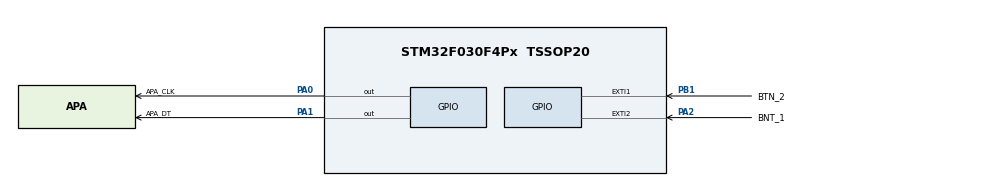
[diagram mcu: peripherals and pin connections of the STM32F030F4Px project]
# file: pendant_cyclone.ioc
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Mcu.Family=STM32F0
Mcu.Name=STM32F030F4Px
Mcu.Package=TSSOP20
NVIC.EXTI0_1_IRQn=true\:0\:0\:false\:false\:true\:true\:true\:true
NVIC.EXTI2_3_IRQn=true\:0\:0\:false\:false\:true\:true\:true\:true
PA0.GPIO_Label=APA_CLK
PA0.Signal=GPIO_Output
PA1.GPIO_Label=APA_DT
PA1.Signal=GPIO_Output
PA13.Mode=Serial_Wire
PA13.Signal=SYS_SWDIO
PA14.Mode=Serial_Wire
PA14.Signal=SYS_SWCLK
PA2.GPIO_Label=BNT_1
PA2.GPIO_ModeDefaultEXTI=GPIO_MODE_IT_FALLING
PA2.GPIO_PuPd=GPIO_PULLUP
PA2.Signal=GPXTI2
PB1.GPIO_Label=BTN_2
PB1.GPIO_ModeDefaultEXTI=GPIO_MODE_IT_FALLING
PB1.Signal=GPXTI1
ProjectManager.HeapSize=0x200
ProjectManager.StackSize=0x400
ProjectManager.TargetToolchain=STM32CubeIDE
board=custom

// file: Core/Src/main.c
/* USER CODE BEGIN Header */
/**
  ******************************************************************************
  * @file           : main.c
  * @brief          : Main program body
  ******************************************************************************
  * @attention
  *
  * <h2><center>&copy; Copyright (c) 2022 STMicroelectronics.
  * All rights reserved.</center></h2>
  *
  * This software component is licensed by ST under BSD 3-Clause license,
  * the "License"; You may not use this file except in compliance with the
  * License. You may obtain a copy of the License at:
  *                        opensource.org/licenses/BSD-3-Clause
  *
  ******************************************************************************
  */
/* USER CODE END Header */
#include "main.h"

/* USER CODE BEGIN PD */
#define NUM_OF_LEDS 8
#define SOFT_CLICK_TIME 200

#define RED 0
#define GREEN 1
#define BLUE 2

/* USER CODE END PD */

/* USER CODE BEGIN PV */
struct pixel_color{
	uint8_t red,green,blue,brightness;
};

uint8_t brightMode = 5;
uint8_t animationMode = 0;
uint8_t breakAnimation = 0;
uint32_t softClickTimer = 0;

struct pixel_color rgb[] = {
		{255,0,0,5},
		{0,255,0,5},
		{0,0,255,5}
};

struct pixel_color pixels[NUM_OF_LEDS];

/* USER CODE END PV */

void SystemClock_Config(void);
static void MX_GPIO_Init(void);

/* USER CODE BEGIN 0 */

void init(){
	HAL_GPIO_WritePin(APA_CLK_GPIO_Port, APA_CLK_Pin, RESET);
	HAL_GPIO_WritePin(APA_DT_GPIO_Port, APA_DT_Pin, RESET);
}

void transfer(uint8_t b){
	for (int8_t i = 7; i>=0; i--){
		HAL_GPIO_WritePin(APA_DT_GPIO_Port, APA_DT_Pin , (b >> i & 1));
		HAL_GPIO_WritePin(APA_CLK_GPIO_Port, APA_CLK_Pin, SET);
		HAL_GPIO_WritePin(APA_CLK_GPIO_Port, APA_CLK_Pin, RESET);
	}
}

// Инициализация шины данных для светодиодов APA и отправка начального блока данных
//
void startFrame()
{
  init();
  transfer(0);
  transfer(0);
  transfer(0);
  transfer(0);
}

// Отправка конечного блока данных в шину APA
//
void endFrame(uint16_t count){
  // оптимизация
  // вместо отправки 4x 0xFF согласно спецификации
  // отправляем 0x0 в цикле

  for (uint16_t i = 0; i < (count + 14)/16; i++) transfer(0);
  init(); 	// сброс сигнальных линий
}

// Отправка данных о цвете пикселей в шину APA
//
void updateLeds(){
  startFrame();
  for(uint16_t i = 0; i < NUM_OF_LEDS; i++) {
	  transfer(0b11100000 | pixels[i].brightness); // яркость - 5 разрядное число
	  transfer(pixels[i].blue);
	  transfer(pixels[i].green);
	  transfer(pixels[i].red);
}
  endFrame(NUM_OF_LEDS);
}

void clearLeds(){
	for(uint16_t i = 0; i < NUM_OF_LEDS; i++) {
		pixels[i].red = 0;
		pixels[i].green = 0;
		pixels[i].blue = 0;
		pixels[i].brightness = 0;
	}
	updateLeds();
}

void setPixelColor(uint8_t led, uint8_t r, uint8_t g, uint8_t b, uint8_t brightness){
	pixels[led].red	= r;
	pixels[led].green = g;
	pixels[led].blue = b;
	pixels[led].brightness = brightness;
}

// анимация при запуске
//
void startupAnimation(){
	clearLeds();
	HAL_Delay(500);

	// закрашивание всех светодиодов последовательно в красный, зелёный и синий
	for(uint8_t c = 0; c < 3; c++) {
		for(uint8_t i = 0; i < NUM_OF_LEDS; i++) {
			pixels[i] = rgb[c];
		}
		updateLeds();
		HAL_Delay(500);
	}
}

// эффект радуга
//
void rainbowWheel(uint8_t WheelPos, uint8_t led, uint8_t brightness) {
	WheelPos = 255 - WheelPos;
		if(WheelPos < 85) {
			setPixelColor(led, 255 - WheelPos * 3, 0, WheelPos * 3, brightness);
			return;
		}
		if(WheelPos < 170) {
		  WheelPos -= 85;
		  setPixelColor(led, 0, WheelPos * 3, 255 - WheelPos * 3, brightness);
		  return;
		}
		WheelPos -= 170;
		setPixelColor(led, WheelPos * 3, 255 - WheelPos * 3, 0, brightness);
		return;
		}

void mode_0(){
	uint16_t i, j;

	for(j=0; j<256; j++) {
		for(i=0; i< NUM_OF_LEDS; i++) {
			rainbowWheel(((i * 256 / (NUM_OF_LEDS)) + j) & 255, i, brightMode);
		}
		updateLeds();
		if(breakAnimation){
			breakAnimation=0;
			clearLeds();
			break;
		}
		HAL_Delay(1);
	}
}

//обработчик прерываний от кнопок
//
void HAL_GPIO_EXTI_Callback(uint16_t GPIO_Pin){
	//animationMode+=1;
	if(GPIO_Pin==GPIO_PIN_2){ 									// проверяем что это прерывание на пин_2 (наша кнопка-1)
		if((HAL_GetTick()-softClickTimer) > SOFT_CLICK_TIME){	// устранение дребезга контактов
			animationMode+=1;
			softClickTimer=HAL_GetTick();						// обновление таймера дребезга
		}
		breakAnimation=1;
	}

	if(GPIO_Pin==GPIO_PIN_1){ 									// проверяем что это прерывание на пин_2 (наша кнопка-1)
		if((HAL_GetTick()-softClickTimer) > SOFT_CLICK_TIME){	// устранение дребезга контактов
			brightMode+=12;
			if (brightMode>31) brightMode=5;
			softClickTimer=HAL_GetTick();						// обновление таймера дребезга
		}
	}
}

// эффект комета
//
void CometRed(uint8_t WheelPos, uint8_t led, uint8_t brightness) {
	WheelPos = 255 - WheelPos;
		if(WheelPos < 85) {
			setPixelColor(led, WheelPos * 3, 0, 0, brightness);
			return;
		}
		if(WheelPos < 170) {
		  WheelPos -= 85;
		  setPixelColor(led, 255 - WheelPos * 3, 0, 0, brightness);
		  return;
		}
		//WheelPos -= 170;
		//setPixelColor(led, 0, 255 - WheelPos * 3, 0, brightness);
		return;
}

void CometGreen(uint8_t WheelPos, uint8_t led, uint8_t brightness) {
	WheelPos = 255 - WheelPos;
		if(WheelPos < 85) {
			setPixelColor(led, 0,WheelPos * 3, 0,  brightness);
			return;
		}
		if(WheelPos < 170) {
		  WheelPos -= 85;
		  setPixelColor(led, 0,	255 - WheelPos * 3, 0,  brightness);
		  return;
		}
		//WheelPos -= 170;
		//setPixelColor(led, 0, 255 - WheelPos * 3, 0, brightness);
		return;
}

void CometBlue(uint8_t WheelPos, uint8_t led, uint8_t brightness) {
	WheelPos = 255 - WheelPos;
		if(WheelPos < 85) {
			setPixelColor(led, 0, 0, WheelPos * 3, brightness);
			return;
		}
		if(WheelPos < 170) {
		  WheelPos -= 85;
		  setPixelColor(led, 0, 0, 255 - WheelPos * 3, brightness);
		  return;
		}
		//WheelPos -= 170;
		//setPixelColor(led, 0, 255 - WheelPos * 3, 0, brightness);
		return;
}

/*
void mode_1(){
	uint16_t i, j;

	for(j=0; j<256; j++) {					// этот цикл создает эффект движения по кругу
		if(breakAnimation){
			breakAnimation=0;
			clearLeds();
			break;
		}
		for(i=0; i< NUM_OF_LEDS; i++) {		// этот цикл меняет позицию "стартового"
		  uint8_t WheelPos = ((i * 256 / (NUM_OF_LEDS))+ j) & 255;
		  Comet(WheelPos, i,brightMode);
	  }
	  updateLeds();
	  HAL_Delay(1);
	}

}
*/

void mode_1(){
	uint16_t i, j;

	for(j=0; j<256; j++) {
		if(breakAnimation){
			breakAnimation=0;
			clearLeds();
			return;
		}
		for(i=0; i< NUM_OF_LEDS; i++) {		// этот цикл меняет позицию "стартового"
		  uint8_t WheelPos = ((i * 64 / (NUM_OF_LEDS))+ j) & 255;
		  CometRed(WheelPos, i,brightMode);
	  }
	  updateLeds();
	  HAL_Delay(1);
	}

}

void mode_2(){
	uint16_t i, j;

	for(j=0; j<256; j++) {					// этот цикл создает эффект движения по кругу
		if(breakAnimation){
			breakAnimation=0;
			clearLeds();
			return;
		}
		for(i=0; i< NUM_OF_LEDS; i++) {		// этот цикл меняет позицию "стартового"
		  uint8_t WheelPos = ((i * 64 / (NUM_OF_LEDS))+ j) & 255;
		  CometGreen(WheelPos, i,brightMode);
	  }
	  updateLeds();
	  HAL_Delay(1);
	}

}

void mode_3(){
	uint16_t i, j;

	for(j=0; j<256; j++) {					// этот цикл создает эффект движения по кругу
		if(breakAnimation){
			breakAnimation=0;
			clearLeds();
			return;
		}
		for(i=0; i< NUM_OF_LEDS; i++) {		// этот цикл меняет позицию "стартового"
		  uint8_t WheelPos = ((i * 64 / (NUM_OF_LEDS))+ j) & 255;
		  CometBlue(WheelPos, i,brightMode);
	  }
	  updateLeds();
	  HAL_Delay(1);
	}

}

void mode_4(){
	uint16_t i, j;

	for(j=0; j<256; j++) {					// этот цикл создает эффект движения по кругу
		if(breakAnimation){
			breakAnimation=0;
			clearLeds();
			return;
		}
		for(i=0; i< NUM_OF_LEDS; i++) {		// этот цикл меняет позицию "стартового"
		  uint8_t WheelPos = ((i * 1024 / (NUM_OF_LEDS))+ j) & 255; // интересный эффект 2
		  CometRed(WheelPos, i,brightMode);
	  }
	  updateLeds();
	  HAL_Delay(1);
	}

}

void mode_5(){
	uint16_t i, j;

	for(j=0; j<256; j++) {					// этот цикл создает эффект движения по кругу
		if(breakAnimation){
			breakAnimation=0;
			clearLeds();
			return;
		}
		for(i=0; i< NUM_OF_LEDS; i++) {		// этот цикл меняет позицию "стартового"
		  uint8_t WheelPos = ((i * 1024 / (NUM_OF_LEDS))+ j) & 255; // интересный эффект 2
		  CometGreen(WheelPos, i,brightMode);
	  }
	  updateLeds();
	  HAL_Delay(1);
	}

}

void mode_6(){
	uint16_t i, j;

	for(j=0; j<256; j++) {					// этот цикл создает эффект движения по кругу
		if(breakAnimation){
			breakAnimation=0;
			clearLeds();
			return;
		}
		for(i=0; i< NUM_OF_LEDS; i++) {		// этот цикл меняет позицию "стартового"
		  uint8_t WheelPos = ((i * 1024 / (NUM_OF_LEDS))+ j) & 255; // интересный эффект 2
		  CometBlue(WheelPos, i,brightMode);
	  }
	  updateLeds();
	  HAL_Delay(1);
	}

}

void mode_7(){			//красное мерцание циферблата
	uint16_t i, j;

	for(j=0; j<256; j++) {					// этот цикл создает эффект движения по кругу
		if(breakAnimation){
			breakAnimation=0;
			clearLeds();
			return;
		}
		for(i=0; i< NUM_OF_LEDS; i++) {		// этот цикл меняет позицию "стартового"
			setPixelColor(
					i,
					j,
					0,
					0,
					brightMode
			);
	  }
	  updateLeds();
	  HAL_Delay(1);
	}
	for(j=255; j>0; j--) {					// этот цикл создает эффект движения по кругу
			if(breakAnimation){
				breakAnimation=0;
				clearLeds();
				return;
			}
			for(i=0; i< NUM_OF_LEDS; i++) {		// этот цикл меняет позицию "стартового"
				setPixelColor(
						i,
						j,
						0,
						0,
						brightMode
				);
		  }
	  updateLeds();
	  HAL_Delay(1);
	}

}

void mode_8(){			//зеленое мерцание циферблата
	uint16_t i, j;

	for(j=0; j<256; j++) {					// этот цикл создает эффект движения по кругу
		if(breakAnimation){
			breakAnimation=0;
			clearLeds();
			return;
		}
		for(i=0; i< NUM_OF_LEDS; i++) {		// этот цикл меняет позицию "стартового"
			setPixelColor(
					i,
					0,
					j,
					0,
					brightMode
			);
	  }
	  updateLeds();
	  HAL_Delay(1);
	}
	for(j=255; j>0; j--) {					// этот цикл создает эффект движения по кругу
			if(breakAnimation){
				breakAnimation=0;
				clearLeds();
				return;
			}
			for(i=0; i< NUM_OF_LEDS; i++) {		// этот цикл меняет позицию "стартового"
				setPixelColor(
						i,
						0,
						j,
						0,
						brightMode
				);
		  }
	  updateLeds();
	  HAL_Delay(1);
	}

}

void mode_9(){			//синее мерцание циферблата
	uint16_t i, j;

	for(j=0; j<256; j++) {					// этот цикл создает эффект движения по кругу
		if(breakAnimation){
			breakAnimation=0;
			clearLeds();
			return;
		}
		for(i=0; i< NUM_OF_LEDS; i++) {		// этот цикл меняет позицию "стартового"
			setPixelColor(
					i,
					0,
					0,
					j,
					brightMode
			);
	  }
	  updateLeds();
	  HAL_Delay(1);
	}
	for(j=255; j>0; j--) {					// этот цикл создает эффект движения по кругу
			if(breakAnimation){
				breakAnimation=0;
				clearLeds();
				return;
			}
			for(i=0; i< NUM_OF_LEDS; i++) {		// этот цикл меняет позицию "стартового"
				setPixelColor(
						i,
						0,
						0,
						j,
						brightMode
				);
		  }
	  updateLeds();
	  HAL_Delay(1);
	}

}

/*
 * 		"Таймер" - раз в секунду зажигаем на индикаторе один пиксель пока индикатор не заполнится.
 * 		Потом заполняем индикатор новым цветом
 * 		Порядок заполнения индикатора:
 * 		Красный
 * 		Красный - Зеленый
 * 		Зеленый
 * 		Зеленый - Синий
 * 		Синий
 * 		Синий - Красный
 *
 * */

void mode_10(){			// анимация "таймер"
	uint16_t i,j;
	uint32_t delay = 0;
	// стартовые параметры цветов.
	uint16_t R=255;
	uint16_t G=0;
	uint16_t B=0;

	for(j=0;j<6;j++){		// переключаем режим свечения
		switch (j){
			case 0:			// заполнение красным. при зацикливании выглядит как удаление синего из красно-синего.
				break;

			case 1:
				G=255;		// добавляем к красному зеленый
				break;

			case 2:
				R=0;		// убираем от красно-зеленого красный
				break;

			case 3:
				B=255;		// добавляем к зеленому синий
				break;

			case 4:
				G=0;		// убираем от зелено-синего зеленый
				break;

			case 5:			// добавляем к синему красный
				R=255;
				break;

			default:
				break;
		}

		for(i=0; i< NUM_OF_LEDS; i++) {	// Заполнение индикатора
			setPixelColor(
					i,
					R,
					G,
					B,
					brightMode
			);
			updateLeds();

			delay=HAL_GetTick()+1000;		// устанавливаем время ожидания до следующего "тика"
			while(HAL_GetTick()<delay){		// мониторим прерывания выхода
				if(breakAnimation){
					breakAnimation=0;
					clearLeds();
					return;
				}
				HAL_Delay(1);
			}
		}
	}
}

void mode_11(){			// анимация "таймер"

	uint16_t i, j;

		for(j=0; j<256; j++) {					// этот цикл создает эффект движения по кругу
			if(breakAnimation){
				breakAnimation=0;
				clearLeds();
				return;
			}

			for(i=0; i< NUM_OF_LEDS/2; i++) {		// этот цикл меняет позицию "стартового"
				setPixelColor((j+i)%NUM_OF_LEDS,32*i, 0, 0, brightMode);
				HAL_Delay(25);
				//uint8_t WheelPos = ((i * 64 / (NUM_OF_LEDS))+ j) & 255;
				//fireball_Red(WheelPos, i,brightMode);
			}
			updateLeds();
			HAL_Delay(1);
		}
}

void mode_12(){			// анимация "таймер"

	uint16_t i, j;

		for(j=0; j<256; j++) {					// этот цикл создает эффект движения по кругу
			if(breakAnimation){
				breakAnimation=0;
				clearLeds();
				return;
			}

			for(i=0; i< NUM_OF_LEDS/2; i++) {		// этот цикл меняет позицию "стартового"
				setPixelColor((j+i)%NUM_OF_LEDS,0, 32*i, 0, brightMode);
				HAL_Delay(25);
				//uint8_t WheelPos = ((i * 64 / (NUM_OF_LEDS))+ j) & 255;
				//fireball_Red(WheelPos, i,brightMode);
			}
			updateLeds();
			HAL_Delay(1);
		}
}

void mode_13(){			// анимация "таймер"

	uint16_t i, j;

		for(j=0; j<256; j++) {					// этот цикл создает эффект движения по кругу
			if(breakAnimation){
				breakAnimation=0;
				clearLeds();
				return;
			}

			for(i=0; i< NUM_OF_LEDS/2; i++) {		// этот цикл меняет позицию "стартового"
				setPixelColor((j+i)%NUM_OF_LEDS,0, 0, 32*i, brightMode);
				HAL_Delay(25);
				//uint8_t WheelPos = ((i * 64 / (NUM_OF_LEDS))+ j) & 255;
				//fireball_Red(WheelPos, i,brightMode);
			}
			updateLeds();
			HAL_Delay(1);
		}
}

/*
 * 	Анимация создает падающий\растущий градиент
 * 	старая и не очень красивая
 */
void Gradient(	uint8_t WheelPos,		// смещение от начального цвета
				uint8_t led,			// Номер светодиода
				uint8_t Color_R, 		// Красный
				uint8_t Color_G, 		// Зеленый
				uint8_t Color_B, 		// Синий

				uint8_t brightness){	// Яркость
	WheelPos = 255 - WheelPos;
	setPixelColor(
			led, 					// Номер светодиода
			Color_R, 				// Красный
			Color_G, 				// Зеленый
			Color_B, 				// Синий
			brightness 				// Яркость
	);
	return;
}
/* USER CODE END 0 */

int main(void)
{

  /* MCU Configuration--------------------------------------------------------*/

  /* Reset of all peripherals, Initializes the Flash interface and the Systick. */
  HAL_Init();

  /* Configure the system clock */
  SystemClock_Config();

  /* Initialize all configured peripherals */
  MX_GPIO_Init();
  /* USER CODE BEGIN 2 */
  startupAnimation();		//запускаем стартовую анимацию
  /* USER CODE END 2 */

  /* Infinite loop */
  while (1){

    /* USER CODE BEGIN 3 */

	// проигрываем нужную анимацию
	switch(animationMode){
		case 0:
			mode_0();
			break;

		case 1:
			mode_1();
			break;

		case 2:
			mode_2();
			break;

		case 3:
			mode_3();
			break;

		case 4:
			mode_4();
			break;

		case 5:
			mode_5();
			break;

		case 6:
			mode_6();
			break;

		case 7:
			mode_7();
			break;

		case 8:
			mode_8();
			break;

		case 9:
			mode_9();
			break;

		case 10:
			mode_10();
			break;

		case 11:
			mode_11();
			break;

		case 12:
			mode_12();
			break;

		case 13:
			mode_13();
			break;

		default:
			animationMode = 0;
			break;

	}

  }
  /* USER CODE END 2 */

  /* Infinite loop */
  /* USER CODE BEGIN WHILE */

  /* USER CODE END 3 */
}

void SystemClock_Config(void)
{
  RCC_OscInitTypeDef RCC_OscInitStruct = {0};
  RCC_ClkInitTypeDef RCC_ClkInitStruct = {0};

  /** Initializes the RCC Oscillators according to the specified parameters
  * in the RCC_OscInitTypeDef structure.
  */
  RCC_OscInitStruct.OscillatorType = RCC_OSCILLATORTYPE_HSI;
  RCC_OscInitStruct.HSIState = RCC_HSI_ON;
  RCC_OscInitStruct.HSICalibrationValue = RCC_HSICALIBRATION_DEFAULT;
  RCC_OscInitStruct.PLL.PLLState = RCC_PLL_NONE;
  if (HAL_RCC_OscConfig(&RCC_OscInitStruct) != HAL_OK)
  {
    Error_Handler();
  }

  /** Initializes the CPU, AHB and APB buses clocks
  */
  RCC_ClkInitStruct.ClockType = RCC_CLOCKTYPE_HCLK|RCC_CLOCKTYPE_SYSCLK
                              |RCC_CLOCKTYPE_PCLK1;
  RCC_ClkInitStruct.SYSCLKSource = RCC_SYSCLKSOURCE_HSI;
  RCC_ClkInitStruct.AHBCLKDivider = RCC_SYSCLK_DIV1;
  RCC_ClkInitStruct.APB1CLKDivider = RCC_HCLK_DIV1;

  if (HAL_RCC_ClockConfig(&RCC_ClkInitStruct, FLASH_LATENCY_0) != HAL_OK)
  {
    Error_Handler();
  }
}

static void MX_GPIO_Init(void)
{
  GPIO_InitTypeDef GPIO_InitStruct = {0};

  /* GPIO Ports Clock Enable */
  __HAL_RCC_GPIOA_CLK_ENABLE();
  __HAL_RCC_GPIOB_CLK_ENABLE();

  /*Configure GPIO pin Output Level */
  HAL_GPIO_WritePin(GPIOA, APA_CLK_Pin|APA_DT_Pin, GPIO_PIN_RESET);

  /*Configure GPIO pins : APA_CLK_Pin APA_DT_Pin */
  GPIO_InitStruct.Pin = APA_CLK_Pin|APA_DT_Pin;
  GPIO_InitStruct.Mode = GPIO_MODE_OUTPUT_PP;
  GPIO_InitStruct.Pull = GPIO_NOPULL;
  GPIO_InitStruct.Speed = GPIO_SPEED_FREQ_LOW;
  HAL_GPIO_Init(GPIOA, &GPIO_InitStruct);

  /*Configure GPIO pin : BNT_1_Pin */
  GPIO_InitStruct.Pin = BNT_1_Pin;
  GPIO_InitStruct.Mode = GPIO_MODE_IT_FALLING;
  GPIO_InitStruct.Pull = GPIO_PULLUP;
  HAL_GPIO_Init(BNT_1_GPIO_Port, &GPIO_InitStruct);

  /*Configure GPIO pin : BTN_2_Pin */
  GPIO_InitStruct.Pin = BTN_2_Pin;
  GPIO_InitStruct.Mode = GPIO_MODE_IT_FALLING;
  GPIO_InitStruct.Pull = GPIO_NOPULL;
  HAL_GPIO_Init(BTN_2_GPIO_Port, &GPIO_InitStruct);

  /* EXTI interrupt init*/
  HAL_NVIC_SetPriority(EXTI0_1_IRQn, 0, 0);
  HAL_NVIC_EnableIRQ(EXTI0_1_IRQn);

  HAL_NVIC_SetPriority(EXTI2_3_IRQn, 0, 0);
  HAL_NVIC_EnableIRQ(EXTI2_3_IRQn);

}

void Error_Handler(void)
{
  /* USER CODE BEGIN Error_Handler_Debug */
  /* User can add his own implementation to report the HAL error return state */
  __disable_irq();
  while (1) {};
  /* USER CODE END Error_Handler_Debug */
}
